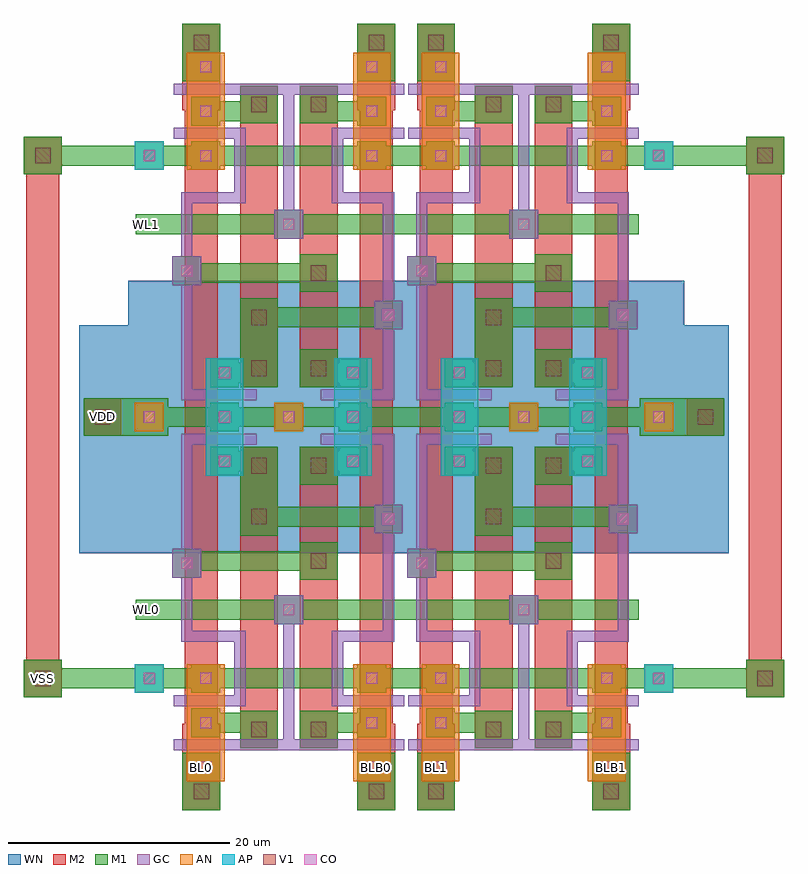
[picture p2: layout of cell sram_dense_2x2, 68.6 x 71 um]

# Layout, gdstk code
import gdstk
lib = gdstk.Library(unit=1e-6, precision=1e-07)
def R(c, l, rs):  # rectangles x0, y0, x1, y1
    for r in rs: c.add(gdstk.rectangle(r[:2], r[2:], *l))
def A(c, l, x, y, w, h, nx, ny, dx, dy):  # array of equal rectangles
    R(c, l, [(x+i*dx, y+j*dy, x+i*dx+w, y+j*dy+h) for i in range(nx) for j in range(ny)])
AP = (3, 1)
AN = (3, 2)
GC = (8, 1)
CO = (11, 0)
M1 = (13, 0)
V1 = (19, 0)
M2 = (20, 0)
WN = (140, 0)

sram_dense = lib.new_cell('sram_dense')
R(sram_dense, AP, [(3.3,26.3,6.7,32.9), (14.9,26.3,18.3,32.9)])
R(sram_dense, AN, [(1.6,-1.3,5,9.3), (16.6,-1.3,20,9.3), (9.5,30.3,12.1,32.9)])
R(sram_dense, GC, [(0.4,1.5,6.2,2.5), (2.8,1.5,18.8,2.5), (10.3,1.5,11.3,14.7), (15.4,1.5,21.2,2.5), (0.4,5.5,6.2,6.5), (2.8,5.5,6.9,6.5), (5.9,5.5,6.9,12.3), (14.7,5.5,18.8,6.5), (14.7,5.5,15.7,12.3), (15.4,5.5,21.2,6.5), (1.1,11.3,6.9,12.3), (1.1,11.3,2.1,30.1), (14.7,11.3,20.3,12.3), (19.3,11.3,20.3,30.1), (9.5,12.9,12.1,15.5), (0.3,17.1,2.9,19.7), (18.5,21.1,21.1,23.7), (1.1,29.1,5.5,30.1), (2.1,29.1,7.9,30.1), (13.7,29.1,19.5,30.1), (16.1,29.1,20.3,30.1)])
A(sram_dense, CO, 2.8, -0.5, 1, 1, 1, 3, 0, 4)
A(sram_dense, CO, 17.8, -0.5, 1, 1, 1, 3, 0, 4)
A(sram_dense, CO, 4.5, 31.1, 1, 1, 3, 1, 5.8, 0)
R(sram_dense, CO, [(10.3,13.7,11.3,14.7), (1.1,17.9,2.1,18.9), (19.3,21.9,20.3,22.9), (4.5,27.1,5.5,28.1), (16.1,27.1,17.1,28.1)])
A(sram_dense, M1, 2, -1.3, 2.6, 2.6, 1, 3, 0, 4)
A(sram_dense, M1, 17, -1.3, 2.6, 2.6, 1, 3, 0, 4)
A(sram_dense, M1, 3.7, 30.3, 2.6, 2.6, 3, 1, 5.8, 0)
R(sram_dense, M1, [(1.2,-3.9,4.6,-0.5), (1.2,-3.9,4.6,1.3), (17,-3.9,20.4,-0.5), (17,-3.9,20.4,1.3), (6.4,1.7,9.8,5.1), (11.8,1.7,15.2,5.1), (7.2,2.5,9,4.9), (12.6,2.5,14.4,4.9), (2.4,3.1,9,4.9), (12.6,3.1,19.2,4.9), (0,7.1,21.2,8.9), (9.5,12.9,12.1,15.5), (0,13.3,21.2,15.1), (11.8,16.9,15.2,20.3), (0.3,17.1,2.9,19.7), (0.7,17.7,14.4,19.5), (6.4,20.9,9.8,24.3), (6.4,20.9,9.8,28.9), (18.5,21.1,21.1,23.7), (7.2,21.7,20.7,23.5), (6.4,25.5,9.8,28.9), (11.8,25.5,15.2,28.9), (3.7,26.3,6.3,28.9), (7.2,26.3,9,28.5), (12.6,26.3,14.4,28.5), (15.3,26.3,17.9,28.9), (4.1,26.7,9,28.5), (12.6,26.7,17.5,28.5), (0,30.7,21.2,32.5)])
R(sram_dense, V1, [(2.2,-2.9,3.6,-1.5), (18,-2.9,19.4,-1.5), (7.4,2.7,8.8,4.1), (12.8,2.7,14.2,4.1), (12.8,17.9,14.2,19.3), (7.4,21.9,8.8,23.3), (7.4,26.5,8.8,27.9), (12.8,26.5,14.2,27.9)])
R(sram_dense, M2, [(1.2,-3.9,4.6,-0.5), (1.2,-3.9,4.6,3.9), (1.4,-3.9,4.4,31.6), (17,-3.9,20.4,-0.5), (17,-3.9,20.4,3.9), (17.2,-3.9,20.2,31.6), (6.4,1.7,9.8,5.1), (6.4,1.7,9.8,28.9), (11.8,1.7,15.2,5.1), (11.8,1.7,15.2,28.9), (11.8,16.9,15.2,20.3), (6.4,20.9,9.8,24.3), (6.4,25.5,9.8,28.9), (11.8,25.5,15.2,28.9)])
R(sram_dense, WN, [(-3.7,19.3,25.3,39.9)])

sram_dense_2x2 = lib.new_cell('sram_dense_2x2')
R(sram_dense_2x2, AP, [(-3.1,6.7,-0.5,9.3), (42.9,6.7,45.5,9.3), (-3.1,53.9,-0.5,56.5), (42.9,53.9,45.5,56.5)])
R(sram_dense_2x2, AN, [(-3.1,30.3,-0.5,32.9), (42.9,30.3,45.5,32.9)])
A(sram_dense_2x2, CO, -2.3, 7.5, 1, 1, 1, 3, 0, 23.6)
A(sram_dense_2x2, CO, 43.7, 7.5, 1, 1, 1, 3, 0, 23.6)
A(sram_dense_2x2, M1, -3.1, 6.7, 2.6, 2.6, 1, 3, 0, 23.6)
A(sram_dense_2x2, M1, 42.9, 6.7, 2.6, 2.6, 1, 3, 0, 23.6)
A(sram_dense_2x2, M1, 0, 7.1, 42.4, 1.8, 1, 3, 0, 23.6)
R(sram_dense_2x2, M1, [(-13.1,6.3,-9.7,9.7), (52.1,6.3,55.5,9.7), (-12.3,7.1,0.9,8.9), (41.5,7.1,54.7,8.9), (-3,13.3,42.4,15.1), (-7.7,29.9,-0.1,33.3), (-7.7,29.9,-4.3,33.3), (42.5,29.9,50.1,33.3), (46.7,29.9,50.1,33.3), (-2.7,30.7,0.9,32.5), (41.5,30.7,45.1,32.5), (-3,48.1,42.4,49.9), (-13.1,53.5,-9.7,56.9), (52.1,53.5,55.5,56.9), (-12.3,54.3,0.9,56.1), (41.5,54.3,54.7,56.1)])
R(sram_dense_2x2, V1, [(-12.1,7.3,-10.7,8.7), (53.1,7.3,54.5,8.7), (-6.7,30.9,-5.3,32.3), (47.7,30.9,49.1,32.3), (-12.1,54.5,-10.7,55.9), (53.1,54.5,54.5,55.9)])
R(sram_dense_2x2, M2, [(-13.1,6.3,-9.7,9.7), (-12.9,6.3,-9.9,56.9), (52.1,6.3,55.5,9.7), (52.3,6.3,55.3,56.9), (-7.7,29.9,-4.3,33.3), (-7.5,29.9,-4.5,33.3), (46.7,29.9,50.1,33.3), (46.9,29.9,49.9,33.3), (-13.1,53.5,-9.7,56.9), (52.1,53.5,55.5,56.9)])
R(sram_dense_2x2, WN, [(-8.1,19.3,42.4,39.9), (0,19.3,50.5,39.9)])
r = gdstk.Reference(sram_dense, (0,0)); r.repetition = gdstk.Repetition(2, 1, v1=(21.2,0), v2=(0,0)); sram_dense_2x2.add(r)
r = gdstk.Reference(sram_dense, (0,63.2), x_reflection=True); r.repetition = gdstk.Repetition(2, 1, v1=(21.2,0), v2=(0,0)); sram_dense_2x2.add(r)
sram_dense_2x2.add(gdstk.Label('WL0', (-2,14.2), layer=48, texttype=0))
sram_dense_2x2.add(gdstk.Label('WL1', (-2,49), layer=48, texttype=0))
sram_dense_2x2.add(gdstk.Label('VDD', (-6,31.6), layer=49, texttype=0))
sram_dense_2x2.add(gdstk.Label('VSS', (-11.4,8), layer=49, texttype=0))
sram_dense_2x2.add(gdstk.Label('BL0', (2.9,0), layer=49, texttype=0))
sram_dense_2x2.add(gdstk.Label('BLB0', (18.7,0), layer=49, texttype=0))
sram_dense_2x2.add(gdstk.Label('BL1', (24.1,0), layer=49, texttype=0))
sram_dense_2x2.add(gdstk.Label('BLB1', (39.9,0), layer=49, texttype=0))

lib.write_gds('sram_dense_2x2.gds')
